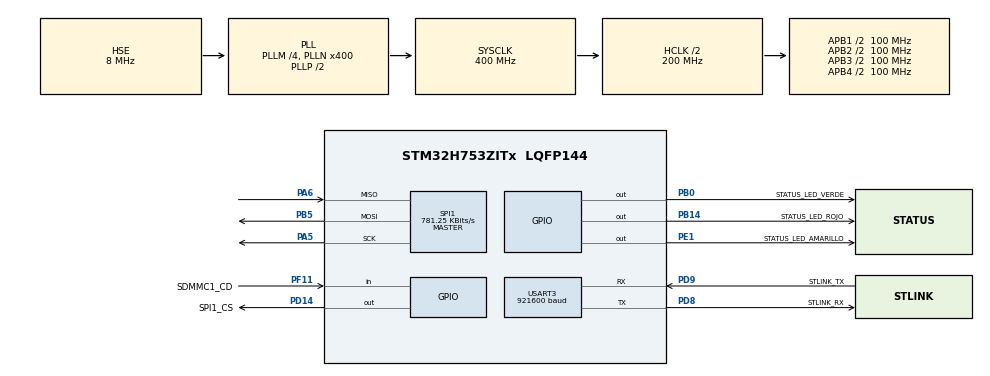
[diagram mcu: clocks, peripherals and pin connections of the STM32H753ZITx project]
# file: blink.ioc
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CORTEX_M7.CPU_DCache=Enabled
CORTEX_M7.CPU_ICache=Enabled
CORTEX_M7.MPU_Control=__NULL
CORTEX_M7.default_mode_Activation=1
Dma.Request0=USART3_TX
Dma.USART3_TX.0.Direction=DMA_MEMORY_TO_PERIPH
Dma.USART3_TX.0.EventEnable=DISABLE
Dma.USART3_TX.0.FIFOMode=DMA_FIFOMODE_DISABLE
Dma.USART3_TX.0.Instance=DMA1_Stream0
Dma.USART3_TX.0.MemDataAlignment=DMA_MDATAALIGN_BYTE
Dma.USART3_TX.0.MemInc=DMA_MINC_ENABLE
Dma.USART3_TX.0.Mode=DMA_NORMAL
Dma.USART3_TX.0.PeriphDataAlignment=DMA_PDATAALIGN_BYTE
Dma.USART3_TX.0.PeriphInc=DMA_PINC_DISABLE
Dma.USART3_TX.0.Polarity=HAL_DMAMUX_REQ_GEN_RISING
Dma.USART3_TX.0.Priority=DMA_PRIORITY_LOW
Dma.USART3_TX.0.RequestNumber=1
Dma.USART3_TX.0.SignalID=NONE
Dma.USART3_TX.0.SyncEnable=DISABLE
Dma.USART3_TX.0.SyncPolarity=HAL_DMAMUX_SYNC_NO_EVENT
Dma.USART3_TX.0.SyncRequestNumber=1
Dma.USART3_TX.0.SyncSignalID=NONE
FREERTOS.Tasks01=defaultTask,24,128,StartDefaultTask,Default,NULL,Dynamic,NULL,NULL
FREERTOS.configENABLE_FPU=1
FREERTOS.configTOTAL_HEAP_SIZE=65536
FREERTOS.configUSE_NEWLIB_REENTRANT=1
Mcu.Family=STM32H7
Mcu.Name=STM32H753ZITx
Mcu.Package=LQFP144
NVIC.DMA1_Stream0_IRQn=true\:5\:0\:false\:false\:true\:true\:false\:true\:true
NVIC.PriorityGroup=NVIC_PRIORITYGROUP_4
NVIC.TIM1_UP_IRQn=true\:0\:0\:false\:false\:true\:false\:false\:true\:true
NVIC.TimeBase=TIM1_UP_IRQn
NVIC.TimeBaseIP=TIM1
NVIC.USART3_IRQn=true\:5\:0\:false\:false\:true\:true\:true\:true\:true
PA13\ (JTMS/SWDIO).Mode=Serial_Wire
PA13\ (JTMS/SWDIO).Signal=DEBUG_JTMS-SWDIO
PA14\ (JTCK/SWCLK).Mode=Serial_Wire
PA14\ (JTCK/SWCLK).Signal=DEBUG_JTCK-SWCLK
PA5.GPIO_Mode=GPIO_MODE_AF_PP
PA5.GPIO_PuPd=GPIO_NOPULL
PA5.GPIO_Speed=GPIO_SPEED_FREQ_VERY_HIGH
PA5.Mode=Full_Duplex_Master
PA5.Signal=SPI1_SCK
PA6.GPIO_Mode=GPIO_MODE_AF_PP
PA6.GPIO_PuPd=GPIO_NOPULL
PA6.GPIO_Speed=GPIO_SPEED_FREQ_VERY_HIGH
PA6.Mode=Full_Duplex_Master
PA6.Signal=SPI1_MISO
PB0.GPIO_Label=STATUS_LED_VERDE
PB0.Signal=GPIO_Output
PB14.GPIO_Label=STATUS_LED_ROJO
PB14.Signal=GPIO_Output
PB5.GPIO_Speed=GPIO_SPEED_FREQ_VERY_HIGH
PB5.Mode=Full_Duplex_Master
PB5.Signal=SPI1_MOSI
PC14-OSC32_IN\ (OSC32_IN).Mode=LSE-External-Oscillator
PC14-OSC32_IN\ (OSC32_IN).Signal=RCC_OSC32_IN
PC15-OSC32_OUT\ (OSC32_OUT).Mode=LSE-External-Oscillator
PC15-OSC32_OUT\ (OSC32_OUT).Signal=RCC_OSC32_OUT
PD14.GPIO_Label=SPI1_CS
PD14.GPIO_Speed=GPIO_SPEED_FREQ_VERY_HIGH
PD14.PinState=GPIO_PIN_SET
PD14.Signal=GPIO_Output
PD8.GPIO_Label=STLINK_RX
PD8.Mode=Asynchronous
PD8.Signal=USART3_TX
PD9.GPIO_Label=STLINK_TX
PD9.Mode=Asynchronous
PD9.Signal=USART3_RX
PE1.GPIO_Label=STATUS_LED_AMARILLO
PE1.Signal=GPIO_Output
PF11.GPIO_Label=SDMMC1_CD
PF11.GPIO_PuPd=GPIO_PULLUP
PF11.Signal=GPIO_Input
PH0-OSC_IN\ (PH0).Mode=HSE-External-Oscillator
PH0-OSC_IN\ (PH0).Signal=RCC_OSC_IN
PH1-OSC_OUT\ (PH1).Mode=HSE-External-Oscillator
PH1-OSC_OUT\ (PH1).Signal=RCC_OSC_OUT
ProjectManager.HeapSize=0x1000
ProjectManager.StackSize=0x1000
ProjectManager.TargetToolchain=STM32CubeIDE
RCC.ADCFreq_Value=16125000
RCC.APB1Freq_Value=100000000
RCC.APB2Freq_Value=100000000
RCC.APB3Freq_Value=100000000
RCC.APB4Freq_Value=100000000
RCC.CortexFreq_Value=400000000
RCC.D1PPRE=RCC_APB3_DIV2
RCC.D2PPRE1=RCC_APB1_DIV2
RCC.D2PPRE2=RCC_APB2_DIV2
RCC.D3PPRE=RCC_APB4_DIV2
RCC.DIVM1=4
RCC.DIVN1=400
RCC.DIVQ1=4
RCC.HCLKFreq_Value=200000000
RCC.HPRE=RCC_HCLK_DIV2
RCC.HSE_VALUE=8000000
RCC.LSE_Drive_Capability=RCC_LSEDRIVE_MEDIUMLOW
RCC.PLLFRACN=0
RCC.PLLSourceVirtual=RCC_PLLSOURCE_HSE
RCC.RTCClockSelection=RCC_RTCCLKSOURCE_LSE
RCC.SYSCLKFreq_VALUE=400000000
RCC.SYSCLKSource=RCC_SYSCLKSOURCE_PLLCLK
RCC.USBFreq_Value=200000000
SPI1.BaudRatePrescaler=SPI_BAUDRATEPRESCALER_256
SPI1.CalculateBaudRate=781.25 KBits/s
SPI1.DataSize=SPI_DATASIZE_8BIT
SPI1.Direction=SPI_DIRECTION_2LINES
SPI1.Mode=SPI_MODE_MASTER
SPI1.VirtualType=VM_MASTER
USART3.BaudRate=921600
USART3.VirtualMode-Asynchronous=VM_ASYNC
VP_FREERTOS_VS_CMSIS_V2.Mode=CMSIS_V2
VP_MEMORYMAP_VS_MEMORYMAP.Mode=CurAppReg
VP_RCC_LSE.Mode=CRS SYNC Source LSE
VP_RTC_VS_RTC_Activate.Mode=RTC_Enabled
VP_SYS_VS_tim1.Mode=TIM1
board=NUCLEO-H753ZI

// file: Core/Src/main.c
/* USER CODE BEGIN Header */
/**
  * @file           : main.c
  * @brief          : Código Nucleo-H753 - 400MHz HSE con 3 Tareas FreeRTOS
  */
/* USER CODE END Header */
#include "main.h"
#include "FreeRTOS.h"
#include "cmsis_os2.h"
#include "dma.h"
#include "rtc.h"
#include "spi.h"
#include "usart.h"
#include "gpio.h"

/* USER CODE BEGIN Includes */
#include <stdio.h>
#include "LedDataVision/LedData.h"
#include "Error/ErrorHandler.h"
#include "MsgUart/TestUart/TestUart.h"
#include "MsgUart/RxUart/RxUart.h"
#include "MsgUart/TxUart/TxUart.h"
#include <string.h>
/* USER CODE END Includes */

/* USER CODE BEGIN PM */

/* AQUÍ: Macros de preprocesador que ejecutan lógica en línea.

/* USER CODE END PM */

/* USER CODE BEGIN PV */
extern UART_HandleTypeDef huart3;
I_TestUart TestUart_1;
/* USER CODE END PV */

void SystemClock_Config(void);
void MX_FREERTOS_Init(void);
/* USER CODE BEGIN PFP */
//void StartSDManagerTask(void *argument);

/* USER CODE END PFP */

int main(void)
{

  /* Enable the CPU Cache */

  /* Enable I-Cache---------------------------------------------------------*/
  SCB_EnableICache();

  /* Enable D-Cache---------------------------------------------------------*/
  SCB_EnableDCache();

  /* MCU Configuration--------------------------------------------------------*/

  /* Reset of all peripherals, Initializes the Flash interface and the Systick. */
  HAL_Init();

  /* Configure the system clock */
  SystemClock_Config();

  /* Initialize all configured peripherals */
  MX_GPIO_Init();
  MX_DMA_Init();
  MX_RTC_Init();
  MX_USART3_UART_Init();
  MX_SPI1_Init();
  /* USER CODE BEGIN 2 */
  TestUart_1 = TestUart_Init(false);
  /* USER CODE END 2 */

  /* Init scheduler */
  osKernelInitialize();  /* Call init function for freertos objects (in cmsis_os2.c) */
  MX_FREERTOS_Init();

  /* Start scheduler */
  osKernelStart();

  /* We should never get here as control is now taken by the scheduler */

  /* Infinite loop */
  while (1)
  {

  }
}

void SystemClock_Config(void)
{
  RCC_OscInitTypeDef RCC_OscInitStruct = {0};
  RCC_ClkInitTypeDef RCC_ClkInitStruct = {0};
  RCC_CRSInitTypeDef RCC_CRSInitStruct = {0};

  /** Supply configuration update enable
  */
  HAL_PWREx_ConfigSupply(PWR_LDO_SUPPLY);

  /** Configure the main internal regulator output voltage
  */
  __HAL_PWR_VOLTAGESCALING_CONFIG(PWR_REGULATOR_VOLTAGE_SCALE1);

  while(!__HAL_PWR_GET_FLAG(PWR_FLAG_VOSRDY)) {}

  /** Configure LSE Drive Capability
  */
  HAL_PWR_EnableBkUpAccess();
  __HAL_RCC_LSEDRIVE_CONFIG(RCC_LSEDRIVE_MEDIUMLOW);

  /** Initializes the RCC Oscillators according to the specified parameters
  * in the RCC_OscInitTypeDef structure.
  */
  RCC_OscInitStruct.OscillatorType = RCC_OSCILLATORTYPE_HSI48|RCC_OSCILLATORTYPE_HSE
                              |RCC_OSCILLATORTYPE_LSE;
  RCC_OscInitStruct.HSEState = RCC_HSE_ON;
  RCC_OscInitStruct.LSEState = RCC_LSE_ON;
  RCC_OscInitStruct.HSI48State = RCC_HSI48_ON;
  RCC_OscInitStruct.PLL.PLLState = RCC_PLL_ON;
  RCC_OscInitStruct.PLL.PLLSource = RCC_PLLSOURCE_HSE;
  RCC_OscInitStruct.PLL.PLLM = 4;
  RCC_OscInitStruct.PLL.PLLN = 400;
  RCC_OscInitStruct.PLL.PLLP = 2;
  RCC_OscInitStruct.PLL.PLLQ = 4;
  RCC_OscInitStruct.PLL.PLLR = 2;
  RCC_OscInitStruct.PLL.PLLRGE = RCC_PLL1VCIRANGE_1;
  RCC_OscInitStruct.PLL.PLLVCOSEL = RCC_PLL1VCOWIDE;
  RCC_OscInitStruct.PLL.PLLFRACN = 0;
  if (HAL_RCC_OscConfig(&RCC_OscInitStruct) != HAL_OK)
  {
    Error_Handler();
  }

  /** Initializes the CPU, AHB and APB buses clocks
  */
  RCC_ClkInitStruct.ClockType = RCC_CLOCKTYPE_HCLK|RCC_CLOCKTYPE_SYSCLK
                              |RCC_CLOCKTYPE_PCLK1|RCC_CLOCKTYPE_PCLK2
                              |RCC_CLOCKTYPE_D3PCLK1|RCC_CLOCKTYPE_D1PCLK1;
  RCC_ClkInitStruct.SYSCLKSource = RCC_SYSCLKSOURCE_PLLCLK;
  RCC_ClkInitStruct.SYSCLKDivider = RCC_SYSCLK_DIV1;
  RCC_ClkInitStruct.AHBCLKDivider = RCC_HCLK_DIV2;
  RCC_ClkInitStruct.APB3CLKDivider = RCC_APB3_DIV2;
  RCC_ClkInitStruct.APB1CLKDivider = RCC_APB1_DIV2;
  RCC_ClkInitStruct.APB2CLKDivider = RCC_APB2_DIV2;
  RCC_ClkInitStruct.APB4CLKDivider = RCC_APB4_DIV2;

  if (HAL_RCC_ClockConfig(&RCC_ClkInitStruct, FLASH_LATENCY_2) != HAL_OK)
  {
    Error_Handler();
  }

  /** Enable the SYSCFG APB clock
  */
  __HAL_RCC_CRS_CLK_ENABLE();

  /** Configures CRS
  */
  RCC_CRSInitStruct.Prescaler = RCC_CRS_SYNC_DIV1;
  RCC_CRSInitStruct.Source = RCC_CRS_SYNC_SOURCE_LSE;
  RCC_CRSInitStruct.Polarity = RCC_CRS_SYNC_POLARITY_RISING;
  RCC_CRSInitStruct.ReloadValue = __HAL_RCC_CRS_RELOADVALUE_CALCULATE(48000000,32768);
  RCC_CRSInitStruct.ErrorLimitValue = 34;
  RCC_CRSInitStruct.HSI48CalibrationValue = 32;

  HAL_RCCEx_CRSConfig(&RCC_CRSInitStruct);
}

/* USER CODE BEGIN 4 */
/* CALLBACK */
void HAL_UART_TxCpltCallback(UART_HandleTypeDef *huart) {
    if (huart->Instance == USART3) {
    	// Solo envía la señal para despertar a la tarea
         osThreadFlagsSet(UartTaskHandle, 0x0001U);
    }
}

void HAL_UARTEx_RxEventCallback(UART_HandleTypeDef *huart, uint16_t Size) {
    if (huart->Instance == USART3) {

        // 1. Obtener y limpiar inmediatamente errores de overrun, ruido, framing o paridad
        uint32_t errorFlags = HAL_UART_GetError(huart);

        if (errorFlags != HAL_UART_ERROR_NONE) {
            // Limpiamos los flags de error directamente en los registros del periférico
            __HAL_UART_CLEAR_FLAG(huart, UART_CLEAR_OREF | UART_CLEAR_NEF | UART_CLEAR_FEF | UART_CLEAR_PEF);
        }

        // 2. Procesar datos SOLO si la longitud recibida es válida y no vacía
        if (Size > 0 && Size <= LONGITUD_MAX_UART_RX) {

            // Invalida la línea de Caché antes de copiar datos
            SCB_InvalidateDCache_by_Addr((uint32_t*)rxDmaBuffer, LONGITUD_MAX_UART_RX);

            // Copia segura al búfer de procesamiento
            memcpy(processingBuffer, rxDmaBuffer, Size);
            processingBuffer[Size] = '\0';
            receivedDataSize = Size;

            // Notificación a FreeRTOS
            BaseType_t xHigherPriorityTaskWoken = pdFALSE;
            vTaskNotifyGiveFromISR(UartRXTaskHandle, &xHigherPriorityTaskWoken);
            portYIELD_FROM_ISR(xHigherPriorityTaskWoken);
        }

        // 3. REARME DEL DMA:
        // Si el estado interno de la HAL se quedó bloqueado por el evento de error,
        // forzamos a 'HAL_UART_STATE_READY' únicamente la parte de RX antes de rearmar.
        if (huart->RxState != HAL_UART_STATE_READY) {
            huart->RxState = HAL_UART_STATE_READY;
        }

        // Rearmar recepción por DMA
        HAL_UARTEx_ReceiveToIdle_DMA(&huart3, rxDmaBuffer, LONGITUD_MAX_UART_RX);

        // Desactivar interrupción de Half-Transfer (solo nos interesa trama completa / IDLE)
        if (huart3.hdmarx != NULL) {
            __HAL_DMA_DISABLE_IT(huart3.hdmarx, DMA_IT_HT);
        }
    }
}
/* USER CODE END 4 */

void HAL_TIM_PeriodElapsedCallback(TIM_HandleTypeDef *htim)
{
  if (htim->Instance == TIM1)
  {
    HAL_IncTick();
  }
}

void Error_Handler(void)
{
  __disable_irq();
  while (1)
  {
  }
}

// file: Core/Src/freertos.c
/* USER CODE BEGIN Header */
/**
  ******************************************************************************
  * File Name          : freertos.c
  * Description        : Code for freertos applications
  ******************************************************************************
  * @attention1
  *
  * Copyright (c) 2026 STMicroelectronics.
  * All rights reserved.
  *
  * This software is licensed under terms that can be found in the LICENSE file
  * in the root directory of this software component.
  * If no LICENSE file comes with this software, it is provided AS-IS.
  *
  ******************************************************************************
  */
/* USER CODE END Header */

#include "FreeRTOS.h"
#include "task.h"
#include "main.h"
#include "FreeRTOS.h"
#include "cmsis_os2.h"

/* USER CODE BEGIN Includes */
#include <string.h>
#include "queue.h"
#include "LedDataVision/LedData.h"
#include "usart.h"
#include "stm32h7xx_hal_uart.h"
#include "MsgUart/TestUart/TestUart.h"
#include "MsgUart/RxUart/RxUart.h"
#include "MsgUart/TxUart/TxUart.h"
/* USER CODE END Includes */

/* USER CODE BEGIN Variables */
extern I_TestUart TestUart_1;
extern SPI_HandleTypeDef hspi1;
uint8_t flash_id[3] = {0, 0, 0};

// Tarea: TaskPrueba
// Prioridad: osPriorityLow1 (Valor: 9)
osThreadId_t TaskPrueba;
const osThreadAttr_t TaskPuerba_attr = {
  .name = "TaskPrueba",
  .stack_size = 256 * 4,
  .priority = (osPriority_t) osPriorityLow1,
};

// Tarea: TaskNormalStatusSystem
// Prioridad: osPriorityLow (Valor: 8)
osThreadId_t TaskNormalStatusSystem;
const osThreadAttr_t StartGreenYellowRedTask_attributes = {
  .name = "TaskNormalStatusSystem",
  .stack_size = 256 * 4,
  .priority = (osPriority_t) osPriorityLow,
};

// Tarea: UartTask
// Prioridad: osPriorityBelowNormal (Valor: 16)
const osThreadAttr_t UartTask_attr = {
  .name = "TaskUartHandle",
  .stack_size = 256 * 6,
  .priority = (osPriority_t) osPriorityBelowNormal,
};

// Tarea: UartTask
// Prioridad: osPriorityBelowNormal (Valor: 16)
const osThreadAttr_t UartTask_attr_RX = {
  .name = "TaskUartHandleRX",
  .stack_size = 256 * 4,
  .priority = (osPriority_t) osPriorityBelowNormal,
};
/* USER CODE END Variables */
/* Definitions for defaultTask */
osThreadId_t defaultTaskHandle;
const osThreadAttr_t defaultTask_attributes = {
  .name = "defaultTask",
  .stack_size = 128 * 4,
  .priority = (osPriority_t) osPriorityNormal,
};

/* USER CODE BEGIN FunctionPrototypes */
void vTaskPrueba(void *argument);
/* USER CODE END FunctionPrototypes */

void StartDefaultTask(void *argument);

void MX_FREERTOS_Init(void); /* (MISRA C 2004 rule 8.1) */

void MX_FREERTOS_Init(void) {

  /* USER CODE BEGIN RTOS_QUEUES */
  /* add queues, ... */
	hUartQueue = osMessageQueueNew(10, sizeof(S_UartMsg *), NULL);
	hUartQueueRX = osMessageQueueNew(10, sizeof(S_UartMsg *), NULL);
  /* USER CODE END RTOS_QUEUES */

  /* Create the thread(s) */
  /* creation of defaultTask */
  defaultTaskHandle = osThreadNew(StartDefaultTask, NULL, &defaultTask_attributes);

  /* USER CODE BEGIN RTOS_THREADS */
  /* add threads, ... */
	// 1. Tarea de UartTask (Prioridad: 16 - Below Normal)
	UartTaskHandle = osThreadNew(vTaskUartHandler, NULL, &UartTask_attr);

	// 1. Tarea de UartTask (Prioridad: 16 - Below Normal)
	UartRXTaskHandle = osThreadNew(vTaskUartRxHandler, NULL, &UartTask_attr_RX);

	// 2. Tarea de Prueba (Prioridad: 9 - Low + 1)
	TaskPrueba = osThreadNew(vTaskPrueba, NULL, &TaskPuerba_attr);

	// 3. Tarea de Estado del Sistema (Prioridad: 8 - Low)
	TaskNormalStatusSystem = osThreadNew(StartGreenYellowRedTask, &startConfiguration, &StartGreenYellowRedTask_attributes);
  /* USER CODE END RTOS_THREADS */

}

void StartDefaultTask(void *argument)
{
  /* USER CODE BEGIN StartDefaultTask */
  /* Infinite loop */
  for(;;)
  {
    osDelay(5000);
  }
  /* USER CODE END StartDefaultTask */
}

/* USER CODE BEGIN Application */
void vTaskPrueba(void *argument)
{
    uint8_t comando = 0x09;          // Comando para leer el ID
    uint8_t flash_id[3] = {0, 0, 0}; // Aquí recibimos la respuesta
    char mensaje_id[64];             // Buffer para el texto (64 letras son más que suficientes)

    // 1. Asegurar que el chip está "deseleccionado" (en Alto) al arrancar
    HAL_GPIO_WritePin(SPI1_CS_GPIO_Port, SPI1_CS_Pin, GPIO_PIN_SET);
    osDelay(10);

    for (;;)
        {
            HAL_StatusTypeDef estado;
            // Enviamos el comando 0x9F seguido de 3 ceros vacíos para "empujar" la respuesta
            uint8_t datos_tx[4] = {0x9F, 0x00, 0x00, 0x00};
            uint8_t datos_rx[4] = {0, 0, 0, 0};             // Aquí recibiremos todo

            MSG_Enviar("\r\n--- Leyendo SPI --- \r\n", TestUart_1);

            HAL_GPIO_WritePin(SPI1_CS_GPIO_Port, SPI1_CS_Pin, GPIO_PIN_RESET);
            osDelay(1);

            // Esta función envía y recibe los 4 bytes simultáneamente
            estado = HAL_SPI_TransmitReceive(&hspi1, datos_tx, datos_rx, 4, 100);

            HAL_GPIO_WritePin(SPI1_CS_GPIO_Port, SPI1_CS_Pin, GPIO_PIN_SET);

            if (estado == HAL_OK) {
                // El byte [0] será basura. El ID real de la memoria estará en [1], [2] y [3]
            	snprintf(mensaje_id, sizeof(mensaje_id),
            	         "Bytes recibidos: [%02X] [%02X] [%02X] [%02X] \r\n",
            	         datos_rx[0], datos_rx[1], datos_rx[2], datos_rx[3]);
            	MSG_Enviar(mensaje_id, TestUart_1);
            } else {
                MSG_Enviar("Error de timeout SPI\r\n", TestUart_1);
            }

            osDelay(1000);
        }
}

/* USER CODE END Application */
